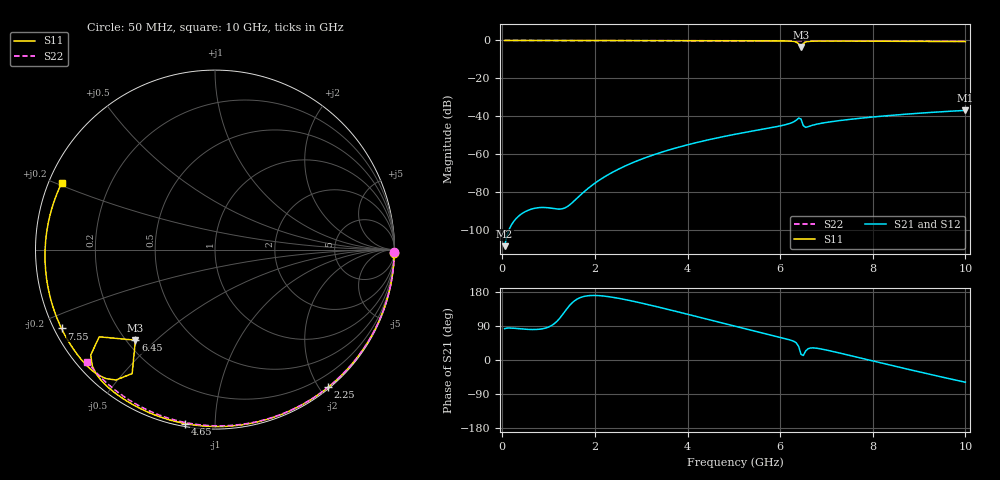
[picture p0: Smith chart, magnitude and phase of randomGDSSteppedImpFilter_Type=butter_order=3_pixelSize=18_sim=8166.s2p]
! freq	dB(S11)	phase(S11)	dB(S12)	phase(S12)
!  dB(S21)	phase(S21)	dB(S22)	phase(S22)
!S-par simulation data
#  GHz  S  DB  R 50
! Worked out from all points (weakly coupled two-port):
!   200 points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, 50 MHz to 10 GHz, reference 50 ohm
!   highest |S21| = -36.90 dB at 10 GHz (marker M1); lowest = -108.5 dB at 50 MHz (marker M2)
!   lowest |S11| = -3.5 dB at 6.45 GHz (marker M3), VSWR 5.09, Z = 11.7 - j21.6 ohm
!   |S11| at or under -10 dB: nowhere
!   |S22| runs from -0.5 to 0.0 dB; largest |S21 - S12| = 0
!   S11 on the Smith chart (normalised r, x): 50 MHz: 3, -96; 2.25 GHz: 0.02, -2.11; 4.65 GHz: 0.01, -0.84; 6.45 GHz: 0.23, -0.43; 7.55 GHz: 0.02, -0.24; 10 GHz: 0.04, +0.21
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0.05  -0.01 -1.2  -108.51 82.6  -108.51 82.6  -0.01 -0.8
0.85  -0.02 -19.5  -88.10 82.0  -88.10 82.0  -0.02 -13.5
1.75  -0.05 -39.7  -80.17 167.3  -80.17 167.3  -0.04 -27.7
2.25  -0.06 -50.6  -71.32 167.9  -71.32 167.9  -0.05 -35.4
2.75  -0.08 -61.3  -65.16 157.0  -65.16 157.0  -0.06 -42.9
3.4  -0.10 -74.9  -59.26 138.8  -59.26 138.8  -0.07 -52.6
4  -0.12 -87.0  -55.06 120.7  -55.06 120.7  -0.08 -61.3
4.65  -0.14 -99.9  -51.35 100.8  -51.35 100.8  -0.10 -70.5
5.05  -0.16 -107.7  -49.38 88.5  -49.38 88.5  -0.12 -76.1
6  -0.25 -127.0  -45.08 59.6  -45.08 59.6  -0.15 -88.8
6.25  -0.40 -134.3  -43.41 51.4  -43.41 51.4  -0.17 -92.1
6.35  -0.84 -139.7  -42.02 45.0  -42.02 45.0  -0.17 -93.4
6.4  -1.86 -143.0  -40.97 35.7  -40.97 35.7  -0.17 -94.1
6.45  -3.46 -131.3  -41.45 15.0  -41.45 15.0  -0.18 -94.7
6.5  -1.61 -123.8  -44.91 11.9  -44.91 11.9  -0.18 -95.4
6.55  -0.80 -127.2  -45.85 23.7  -45.85 23.7  -0.18 -96.0
6.7  -0.38 -134.1  -44.71 32.0  -44.71 32.0  -0.19 -97.9
7  -0.31 -141.6  -43.23 26.3  -43.23 26.3  -0.21 -101.8
7.55  -0.34 -152.8  -41.50 10.7  -41.50 10.7  -0.24 -108.7
8.35  -0.42 -168.6  -39.61 -12.6  -39.61 -12.6  -0.30 -118.6
9.2  -0.51 174.0  -38.05 -36.8  -38.05 -36.8  -0.38 -128.9
10  -0.62 156.4  -36.90 -58.7  -36.90 -58.7  -0.47 -138.6
